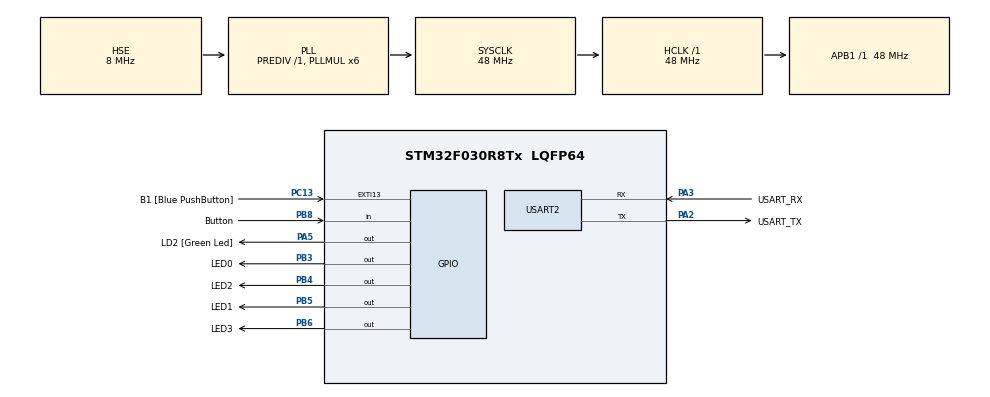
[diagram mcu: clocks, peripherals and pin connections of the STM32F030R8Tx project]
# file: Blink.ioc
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FREERTOS.Tasks01=defaultTask,0,128,Task01,Default,NULL,Dynamic,NULL,NULL;myTask02,-3,128,Task02,Default,NULL,Dynamic,NULL,NULL;myTask03,-3,128,Task03,Default,NULL,Dynamic,NULL,NULL
FREERTOS.Timers01=myTimer01,Callback01,osTimerOnce,Default,NULL,Dynamic,NULL
FREERTOS.configTIMER_TASK_PRIORITY=3
FREERTOS.configTOTAL_HEAP_SIZE=4000
FREERTOS.configUSE_TIMERS=1
Mcu.Family=STM32F0
Mcu.Name=STM32F030R8Tx
Mcu.Package=LQFP64
NVIC.TIM1_BRK_UP_TRG_COM_IRQn=true\:0\:0\:false\:false\:true\:false\:false\:true
NVIC.TimeBase=TIM1_BRK_UP_TRG_COM_IRQn
NVIC.TimeBaseIP=TIM1
PA13.GPIO_Label=TMS
PA13.Mode=Serial_Wire
PA13.Signal=SYS_SWDIO
PA14.GPIO_Label=TCK
PA14.Mode=Serial_Wire
PA14.Signal=SYS_SWCLK
PA2.GPIO_Label=USART_TX
PA2.GPIO_Mode=GPIO_MODE_AF_PP
PA2.GPIO_PuPd=GPIO_NOPULL
PA2.GPIO_Speed=GPIO_SPEED_FREQ_LOW
PA2.Mode=Asynchronous
PA2.Signal=USART2_TX
PA3.GPIO_Label=USART_RX
PA3.GPIO_Mode=GPIO_MODE_AF_PP
PA3.GPIO_PuPd=GPIO_NOPULL
PA3.GPIO_Speed=GPIO_SPEED_FREQ_LOW
PA3.Mode=Asynchronous
PA3.Signal=USART2_RX
PA5.GPIO_Label=LD2 [Green Led]
PA5.GPIO_Mode=GPIO_MODE_OUTPUT_PP
PA5.GPIO_PuPd=GPIO_NOPULL
PA5.GPIO_Speed=GPIO_SPEED_FREQ_LOW
PA5.Signal=GPIO_Output
PB3.GPIO_Label=LED0
PB3.Signal=GPIO_Output
PB4.GPIO_Label=LED2
PB4.Signal=GPIO_Output
PB5.GPIO_Label=LED1
PB5.Signal=GPIO_Output
PB6.GPIO_Label=LED3
PB6.Signal=GPIO_Output
PB8.GPIO_Label=Button
PB8.Signal=GPIO_Input
PC13.GPIO_Label=B1 [Blue PushButton]
PC13.GPIO_ModeDefaultEXTI=GPIO_MODE_IT_FALLING
PC13.Signal=GPXTI13
PC14-OSC32_IN.Mode=LSE-External-Oscillator
PC14-OSC32_IN.Signal=RCC_OSC32_IN
PC15-OSC32_OUT.Mode=LSE-External-Oscillator
PC15-OSC32_OUT.Signal=RCC_OSC32_OUT
PF0-OSC_IN.Mode=HSE-External-Oscillator
PF0-OSC_IN.Signal=RCC_OSC_IN
PF1-OSC_OUT.Mode=HSE-External-Oscillator
PF1-OSC_OUT.Signal=RCC_OSC_OUT
ProjectManager.HeapSize=0x200
ProjectManager.StackSize=0x400
ProjectManager.TargetToolchain=STM32CubeIDE
RCC.AHBFreq_Value=48000000
RCC.APB1Freq_Value=48000000
RCC.APB1TimFreq_Value=48000000
RCC.HCLKFreq_Value=48000000
RCC.PLLMUL=RCC_PLL_MUL6
RCC.PLLSourceVirtual=RCC_PLLSOURCE_HSE
RCC.SYSCLKFreq_VALUE=48000000
RCC.SYSCLKSource=RCC_SYSCLKSOURCE_PLLCLK
USART2.VirtualMode-Asynchronous=VM_ASYNC
VP_FREERTOS_VS_CMSIS_V1.Mode=CMSIS_V1
VP_SYS_VS_tim1.Mode=TIM1
board=NUCLEO-F030R8

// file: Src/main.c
/* USER CODE BEGIN Header */
/**
 ******************************************************************************
 * @file           : main.c
 * @brief          : Main program body
 ******************************************************************************
 * @attention
 *
 * <h2><center>&copy; Copyright (c) 2019 STMicroelectronics.
 * All rights reserved.</center></h2>
 *
 * This software component is licensed by ST under BSD 3-Clause license,
 * the "License"; You may not use this file except in compliance with the
 * License. You may obtain a copy of the License at:
 *                        opensource.org/licenses/BSD-3-Clause
 *
 ******************************************************************************
 */
/* USER CODE END Header */

#include "main.h"
#include "cmsis_os.h"

UART_HandleTypeDef huart2;

osThreadId defaultTaskHandle;
osThreadId myTask02Handle;
osThreadId myTask03Handle;
osTimerId myTimer01Handle;
/* USER CODE BEGIN PV */
int timerflag = 1;
int timerflag2 = 1;
/* USER CODE END PV */

void SystemClock_Config(void);
static void MX_GPIO_Init(void);
static void MX_USART2_UART_Init(void);
void Task01(void const * argument);
void Task02(void const * argument);
void Task03(void const * argument);
void Callback01(void const * argument);

int main(void) {

	/* MCU Configuration--------------------------------------------------------*/

	/* Reset of all peripherals, Initializes the Flash interface and the Systick. */
	HAL_Init();

	/* Configure the system clock */
	SystemClock_Config();

	/* Initialize all configured peripherals */
	MX_GPIO_Init();
	MX_USART2_UART_Init();

	/* Create the timer(s) */
	/* definition and creation of myTimer01 */
	osTimerDef(myTimer01, Callback01);
	myTimer01Handle = osTimerCreate(osTimer(myTimer01), osTimerOnce, NULL);

	/* Create the thread(s) */
	/* definition and creation of defaultTask */
	osThreadDef(defaultTask, Task01, osPriorityNormal, 0, 128);
	defaultTaskHandle = osThreadCreate(osThread(defaultTask), NULL);

	/* definition and creation of myTask02 */
	osThreadDef(myTask02, Task02, osPriorityNormal, 0, 128);
	myTask02Handle = osThreadCreate(osThread(myTask02), NULL);

	/* definition and creation of myTask03 */
	osThreadDef(myTask03, Task03, osPriorityNormal, 0, 128);
	myTask03Handle = osThreadCreate(osThread(myTask03), NULL);

	/* Start scheduler */
	osKernelStart();

	/* We should never get here as control is now taken by the scheduler */

	/* Infinite loop */
	while (1) {

	}
}

void SystemClock_Config(void) {
	RCC_OscInitTypeDef RCC_OscInitStruct = { 0 };
	RCC_ClkInitTypeDef RCC_ClkInitStruct = { 0 };

	/** Initializes the CPU, AHB and APB busses clocks
	 */
	RCC_OscInitStruct.OscillatorType = RCC_OSCILLATORTYPE_HSE;
	RCC_OscInitStruct.HSEState = RCC_HSE_ON;
	RCC_OscInitStruct.PLL.PLLState = RCC_PLL_ON;
	RCC_OscInitStruct.PLL.PLLSource = RCC_PLLSOURCE_HSE;
	RCC_OscInitStruct.PLL.PLLMUL = RCC_PLL_MUL6;
	RCC_OscInitStruct.PLL.PREDIV = RCC_PREDIV_DIV1;
	if (HAL_RCC_OscConfig(&RCC_OscInitStruct) != HAL_OK) {
		Error_Handler();
	}
	/** Initializes the CPU, AHB and APB busses clocks
	 */
	RCC_ClkInitStruct.ClockType = RCC_CLOCKTYPE_HCLK | RCC_CLOCKTYPE_SYSCLK
			| RCC_CLOCKTYPE_PCLK1;
	RCC_ClkInitStruct.SYSCLKSource = RCC_SYSCLKSOURCE_PLLCLK;
	RCC_ClkInitStruct.AHBCLKDivider = RCC_SYSCLK_DIV1;
	RCC_ClkInitStruct.APB1CLKDivider = RCC_HCLK_DIV1;

	if (HAL_RCC_ClockConfig(&RCC_ClkInitStruct, FLASH_LATENCY_1) != HAL_OK) {
		Error_Handler();
	}
}

static void MX_USART2_UART_Init(void) {

	huart2.Instance = USART2;
	huart2.Init.BaudRate = 38400;
	huart2.Init.WordLength = UART_WORDLENGTH_8B;
	huart2.Init.StopBits = UART_STOPBITS_1;
	huart2.Init.Parity = UART_PARITY_NONE;
	huart2.Init.Mode = UART_MODE_TX_RX;
	huart2.Init.HwFlowCtl = UART_HWCONTROL_NONE;
	huart2.Init.OverSampling = UART_OVERSAMPLING_16;
	huart2.Init.OneBitSampling = UART_ONE_BIT_SAMPLE_DISABLE;
	huart2.AdvancedInit.AdvFeatureInit = UART_ADVFEATURE_NO_INIT;
	if (HAL_UART_Init(&huart2) != HAL_OK) {
		Error_Handler();
	}

}

static void MX_GPIO_Init(void) {
	GPIO_InitTypeDef GPIO_InitStruct = { 0 };

	/* GPIO Ports Clock Enable */
	__HAL_RCC_GPIOC_CLK_ENABLE()
	;
	__HAL_RCC_GPIOF_CLK_ENABLE()
	;
	__HAL_RCC_GPIOA_CLK_ENABLE()
	;
	__HAL_RCC_GPIOB_CLK_ENABLE()
	;

	/*Configure GPIO pin Output Level */
	HAL_GPIO_WritePin(LD2_GPIO_Port, LD2_Pin, GPIO_PIN_RESET);

	/*Configure GPIO pin Output Level */
	HAL_GPIO_WritePin(GPIOB, LED0_Pin | LED2_Pin | LED1_Pin | LED3_Pin,
			GPIO_PIN_RESET);

	/*Configure GPIO pin : B1_Pin */
	GPIO_InitStruct.Pin = B1_Pin;
	GPIO_InitStruct.Mode = GPIO_MODE_IT_FALLING;
	GPIO_InitStruct.Pull = GPIO_NOPULL;
	HAL_GPIO_Init(B1_GPIO_Port, &GPIO_InitStruct);

	/*Configure GPIO pin : LD2_Pin */
	GPIO_InitStruct.Pin = LD2_Pin;
	GPIO_InitStruct.Mode = GPIO_MODE_OUTPUT_PP;
	GPIO_InitStruct.Pull = GPIO_NOPULL;
	GPIO_InitStruct.Speed = GPIO_SPEED_FREQ_LOW;
	HAL_GPIO_Init(LD2_GPIO_Port, &GPIO_InitStruct);

	/*Configure GPIO pins : LED0_Pin LED2_Pin LED1_Pin LED3_Pin */
	GPIO_InitStruct.Pin = LED0_Pin | LED2_Pin | LED1_Pin | LED3_Pin;
	GPIO_InitStruct.Mode = GPIO_MODE_OUTPUT_PP;
	GPIO_InitStruct.Pull = GPIO_NOPULL;
	GPIO_InitStruct.Speed = GPIO_SPEED_FREQ_LOW;
	HAL_GPIO_Init(GPIOB, &GPIO_InitStruct);

	/*Configure GPIO pin : Button_Pin */
	GPIO_InitStruct.Pin = Button_Pin;
	GPIO_InitStruct.Mode = GPIO_MODE_INPUT;
	GPIO_InitStruct.Pull = GPIO_NOPULL;
	HAL_GPIO_Init(Button_GPIO_Port, &GPIO_InitStruct);

}

void Task01(void const * argument) {
	/* USER CODE BEGIN 5 */
	/* Infinite loop */
	for (;;) {
		if (timerflag == 1) {
			timerflag = 0;
			timerflag2 = timerflag2 + 1;
			HAL_GPIO_TogglePin(LED0_GPIO_Port, LED0_Pin);
			osTimerStart(myTimer01Handle, 1000);
		}
		//osDelay(1);
	}
	/* USER CODE END 5 */
}

void Task02(void const * argument) {
	/* USER CODE BEGIN Task02 */
	/* Infinite loop */
	for (;;) {
		if (timerflag2 == 3) {
			timerflag2 = 0;
			HAL_GPIO_TogglePin(LED1_GPIO_Port, LED1_Pin);
			osTimerStart(myTimer01Handle, 1000);
		}
		//osDelay(1);
	}
	/* USER CODE END Task02 */
}

void Task03(void const * argument) {
	/* USER CODE BEGIN Task03 */
	/* Infinite loop */
	for (;;) {
		if (GPIO_PIN_RESET == HAL_GPIO_ReadPin(Button_GPIO_Port, Button_Pin)) {
			while (GPIO_PIN_RESET
					== HAL_GPIO_ReadPin(Button_GPIO_Port, Button_Pin))
				;
			osDelay(400);
			HAL_GPIO_TogglePin(LED2_GPIO_Port, LED2_Pin);
		}
	}
	/* USER CODE END Task03 */
}

/* Callback01 function */
void Callback01(void const * argument) {
	/* USER CODE BEGIN Callback01 */

	timerflag = 1;
	/* USER CODE END Callback01 */
}

void HAL_TIM_PeriodElapsedCallback(TIM_HandleTypeDef *htim) {
	if (htim->Instance == TIM1) {
		HAL_IncTick();
	}
}

void Error_Handler(void) {
}

/************************ (C) COPYRIGHT STMicroelectronics *****END OF FILE****/
